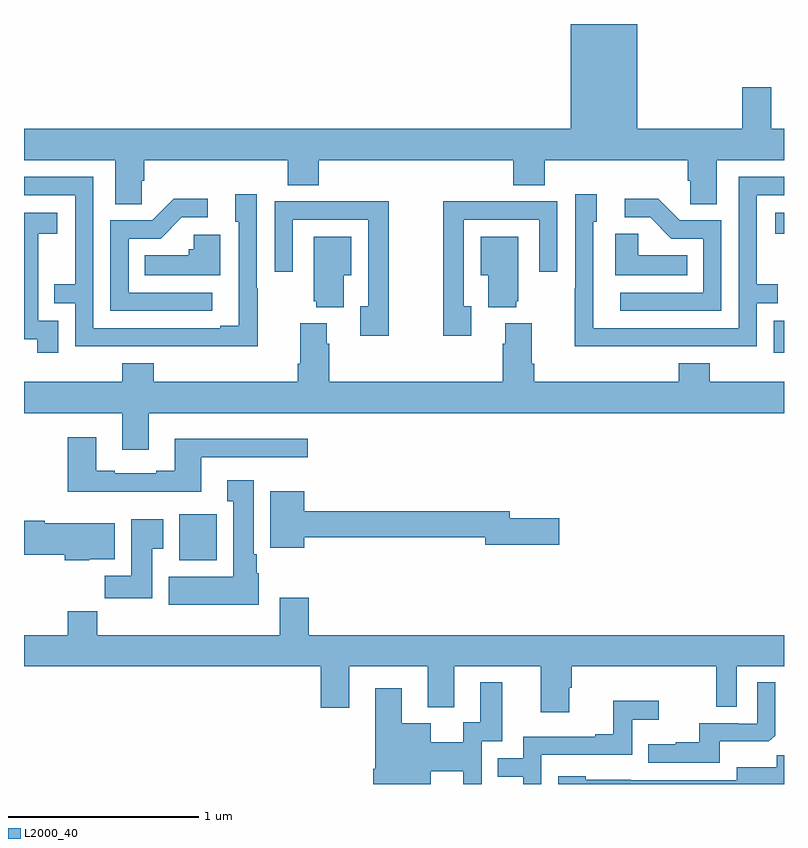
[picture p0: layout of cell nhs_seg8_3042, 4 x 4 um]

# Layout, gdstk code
import gdstk
lib = gdstk.Library(unit=1e-6, precision=1e-09)
def R(c, l, rs):  # rectangles x0, y0, x1, y1
    for r in rs: c.add(gdstk.rectangle(r[:2], r[2:], *l))
def P(c, l, *ps):  # polygons
    for p in ps: c.add(gdstk.Polygon(p, *l))
L2000_40 = (2000, 40)

nhs_seg8_3042 = lib.new_cell('nhs_seg8_3042')
R(nhs_seg8_3042, L2000_40, [(301.817,1097.078,302.014,1097.32), (304.947,1098.171,305,1098.339), (304.953,1098.797,305,1098.907)])
P(nhs_seg8_3042, L2000_40, [(301.62,1099.075),(301.634,1099.075),(301.634,1099.184),(302.387,1099.184),(302.387,1099.051),(302.552,1099.051),(302.552,1099.184),(303.575,1099.184),(303.575,1099.051),(303.74,1099.051),(303.74,1099.184),(304.493,1099.184),(304.493,1099.075),(304.506,1099.075),(304.506,1098.952),(304.645,1098.952),(304.645,1099.184),(305,1099.184),(305,1099.348),(304.933,1099.348),(304.933,1099.567),(304.781,1099.567),(304.781,1099.348),(304.228,1099.348),(304.228,1099.9),(303.878,1099.9),(303.878,1099.348),(301,1099.348),(301,1099.184),(301.481,1099.184),(301.481,1098.952),(301.62,1098.952)],
  [(304.361,1098.204),(304.857,1098.204),(304.857,1098.429),(304.967,1098.429),(304.967,1098.53),(304.857,1098.53),(304.857,1098.999),(305,1098.999),(305,1099.095),(304.761,1099.095),(304.761,1098.3),(303.996,1098.3),(303.996,1098.858),(304.015,1098.858),(304.015,1099.003),(303.9,1099.003),(303.9,1098.509),(303.898,1098.509),(303.898,1098.203),(304.361,1098.203)],
  [(302.229,1098.509),(302.226,1098.509),(302.226,1099.003),(302.111,1099.003),(302.111,1098.858),(302.13,1098.858),(302.13,1098.313),(302.033,1098.313),(302.033,1098.3),(301.365,1098.3),(301.365,1099.095),(301,1099.095),(301,1098.999),(301.269,1098.999),(301.269,1098.53),(301.159,1098.53),(301.159,1098.429),(301.269,1098.429),(301.269,1098.204),(301.765,1098.204),(301.765,1098.203),(302.229,1098.203)],
  [(301.99,1098.486),(301.551,1098.486),(301.551,1098.771),(301.72,1098.771),(301.831,1098.882),(301.966,1098.882),(301.966,1098.98),(301.787,1098.98),(301.674,1098.867),(301.455,1098.867),(301.455,1098.39),(301.99,1098.39)],
  [(304.671,1098.867),(304.452,1098.867),(304.339,1098.98),(304.161,1098.98),(304.161,1098.882),(304.295,1098.882),(304.406,1098.771),(304.575,1098.771),(304.575,1098.486),(304.137,1098.486),(304.137,1098.39),(304.671,1098.39)],
  [(302.92,1098.968),(302.635,1098.968),(302.635,1098.966),(302.319,1098.966),(302.319,1098.597),(302.415,1098.597),(302.415,1098.87),(302.811,1098.87),(302.811,1098.414),(302.771,1098.414),(302.771,1098.258),(302.92,1098.258)],
  [(303.355,1098.414),(303.315,1098.414),(303.315,1098.87),(303.711,1098.87),(303.711,1098.597),(303.807,1098.597),(303.807,1098.966),(303.491,1098.966),(303.491,1098.968),(303.207,1098.968),(303.207,1098.258),(303.355,1098.258)],
  [(301.179,1098.339),(301.074,1098.339),(301.074,1098.569),(301.076,1098.569),(301.076,1098.797),(301.174,1098.797),(301.174,1098.907),(301,1098.907),(301,1098.241),(301.071,1098.241),(301.071,1098.171),(301.179,1098.171)],
  [(304.49,1098.682),(304.233,1098.682),(304.233,1098.797),(304.112,1098.797),(304.112,1098.578),(304.49,1098.578)],
  [(302.032,1098.79),(301.893,1098.79),(301.893,1098.714),(301.867,1098.714),(301.867,1098.682),(301.636,1098.682),(301.636,1098.578),(302.032,1098.578)],
  [(302.683,1098.578),(302.722,1098.578),(302.722,1098.781),(302.525,1098.781),(302.525,1098.441),(302.537,1098.441),(302.537,1098.41),(302.683,1098.41)],
  [(303.59,1098.441),(303.601,1098.441),(303.601,1098.781),(303.404,1098.781),(303.404,1098.578),(303.443,1098.578),(303.443,1098.41),(303.59,1098.41)],
  [(302.453,1098.325),(302.453,1098.112),(302.441,1098.112),(302.441,1098.016),(301.682,1098.016),(301.682,1098.115),(301.517,1098.115),(301.517,1098.016),(301,1098.016),(301,1097.852),(301.517,1097.852),(301.517,1097.658),(301.657,1097.658),(301.657,1097.852),(305,1097.852),(305,1098.016),(304.61,1098.016),(304.61,1098.115),(304.445,1098.115),(304.445,1098.016),(303.686,1098.016),(303.686,1098.112),(303.673,1098.112),(303.673,1098.325),(303.533,1098.325),(303.533,1098.218),(303.521,1098.218),(303.521,1098.016),(302.606,1098.016),(302.606,1098.218),(302.593,1098.218),(302.593,1098.325)],
  [(301.933,1097.619),(302.494,1097.619),(302.494,1097.716),(301.793,1097.716),(301.793,1097.548),(301.697,1097.548),(301.697,1097.535),(301.477,1097.535),(301.477,1097.548),(301.381,1097.548),(301.381,1097.725),(301.229,1097.725),(301.229,1097.438),(301.933,1097.438)],
  [(302.236,1097.01),(302.224,1097.01),(302.224,1097.11),(302.209,1097.11),(302.209,1097.5),(302.069,1097.5),(302.069,1097.387),(302.102,1097.387),(302.102,1096.99),(301.763,1096.99),(301.763,1096.844),(302.236,1096.844)],
  [(302.476,1097.2),(303.428,1097.2),(303.428,1097.158),(303.817,1097.158),(303.817,1097.3),(303.556,1097.3),(303.556,1097.336),(302.476,1097.336),(302.476,1097.44),(302.297,1097.44),(302.297,1097.144),(302.476,1097.144)],
  [(301.675,1097.137),(301.732,1097.137),(301.732,1097.293),(301.565,1097.293),(301.565,1096.996),(301.426,1096.996),(301.426,1096.878),(301.675,1096.878)],
  [(301.344,1097.084),(301.477,1097.084),(301.477,1097.272),(301.108,1097.272),(301.108,1097.285),(301,1097.285),(301,1097.107),(301.214,1097.107),(301.214,1097.078),(301.344,1097.078)],
  [(303.871,1096.407),(303.884,1096.407),(303.884,1096.52),(304.644,1096.52),(304.644,1096.306),(304.752,1096.306),(304.752,1096.52),(305,1096.52),(305,1096.684),(302.498,1096.684),(302.498,1096.879),(302.345,1096.879),(302.345,1096.684),(301.385,1096.684),(301.385,1096.808),(301.229,1096.808),(301.229,1096.684),(301,1096.684),(301,1096.52),(302.561,1096.52),(302.561,1096.302),(302.713,1096.302),(302.713,1096.52),(303.125,1096.52),(303.125,1096.304),(303.265,1096.304),(303.265,1096.52),(303.719,1096.52),(303.719,1096.278),(303.871,1096.278)],
  [(303.142,1095.968),(303.312,1095.968),(303.312,1095.9),(303.408,1095.9),(303.408,1096.125),(303.517,1096.125),(303.517,1096.435),(303.401,1096.435),(303.401,1096.226),(303.311,1096.226),(303.311,1096.12),(303.142,1096.12),(303.142,1096.219),(302.989,1096.219),(302.989,1096.405),(302.849,1096.405),(302.849,1095.979),(302.837,1095.979),(302.837,1095.9),(303.142,1095.9)],
  [(304.663,1096.124),(304.921,1096.124),(304.953,1096.155),(304.953,1096.435),(304.86,1096.435),(304.86,1096.218),(304.76,1096.218),(304.76,1096.221),(304.553,1096.221),(304.553,1096.12),(304.429,1096.12),(304.429,1096.108),(304.285,1096.108),(304.285,1096.011),(304.663,1096.011)],
  [(303.723,1096.053),(304.2,1096.053),(304.2,1096.238),(304.342,1096.238),(304.342,1096.337),(304.102,1096.337),(304.102,1096.162),(304.007,1096.162),(304.007,1096.149),(303.627,1096.149),(303.627,1096.035),(303.493,1096.035),(303.493,1095.939),(303.627,1095.939),(303.627,1095.9),(303.723,1095.9)],
  [(305,1096.052),(304.962,1096.052),(304.962,1095.988),(304.751,1095.988),(304.751,1095.921),(304.193,1095.921),(304.193,1095.922),(303.957,1095.922),(303.957,1095.94),(303.813,1095.94),(303.813,1095.9),(305,1095.9)])

lib.write_gds('nhs_seg8_3042.gds')
